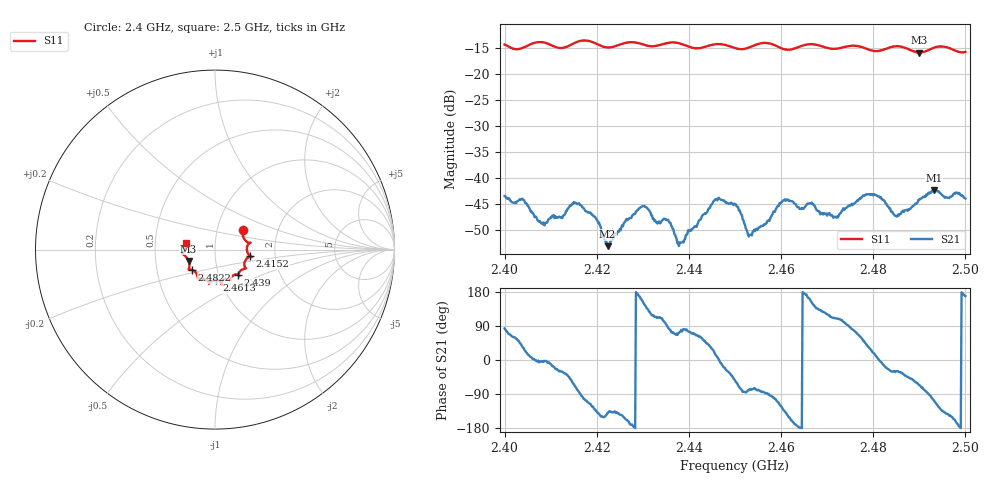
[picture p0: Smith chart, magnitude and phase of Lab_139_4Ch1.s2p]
# Hz S RI R 50
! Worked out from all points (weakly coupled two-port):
!   601 points, 2.4 GHz to 2.5 GHz, reference 50 ohm
!   highest |S21| = -42.23 dB at 2.4932 GHz (marker M1); lowest = -53.0 dB at 2.4223 GHz (marker M2)
!   lowest |S11| = -15.9 dB at 2.49 GHz (marker M3), VSWR 1.38, Z = 36.9 - j4.83 ohm
!   |S11| at or under -10 dB: start of sweep to end of sweep
!   S12 and S22 are empty: the file has one direction only
!   S11 on the Smith chart (normalised r, x): 2.4 GHz: 1.33, +0.31; 2.4152 GHz: 1.48, -0.11; 2.439 GHz: 1.24, -0.36; 2.4613 GHz: 0.96, -0.34; 2.4822 GHz: 0.76, -0.17; 2.5 GHz: 0.72, +0.05
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2.4e9  0.156 0.1113  0.000783 0.00671  0 0  0 0
2.403833e9  0.1701 0.0502  0.00519 0.0037  0 0  0 0
2.408333e9  0.1974 0.0392  0.00359 -0.000352  0 0  0 0
2.415167e9  0.1946 -0.036  0.00228 -0.00536  0 0  0 0
2.416667e9  0.2043 -0.0416  -0.000439 -0.00547  0 0  0 0
2.422333e9  0.1677 -0.0638  -0.00171 -0.00143  0 0  0 0
2.429833e9  0.1606 -0.1075  -0.00495 0.00205  0 0  0 0
2.433333e9  0.1331 -0.1324  -0.00138 0.00346  0 0  0 0
2.439e9  0.1281 -0.1394  0.000394 0.00255  0 0  0 0
2.445833e9  0.0845 -0.1734  0.00613 0.00138  0 0  0 0
2.45e9  0.0685 -0.1635  0.00334 -0.00458  0 0  0 0
2.453333e9  0.0369 -0.1776  0.000571 -0.00282  0 0  0 0
2.461333e9  0.0077 -0.1705  -0.00513 -0.0036  0 0  0 0
2.466667e9  -0.033 -0.19  -0.00512 0.00282  0 0  0 0
2.471833e9  -0.0633 -0.1623  -0.00146 0.00398  0 0  0 0
2.478333e9  -0.0979 -0.1458  0.00502 0.00487  0 0  0 0
2.482167e9  -0.1283 -0.1123  0.00606 -0.0013  0 0  0 0
2.483333e9  -0.1397 -0.1106  0.00481 -0.00221  0 0  0 0
2.485333e9  -0.1478 -0.1105  0.00391 -0.00218  0 0  0 0
2.49e9  -0.1473 -0.0638  0.00249 -0.00566  0 0  0 0
2.493167e9  -0.1764 -0.027  -0.00222 -0.00741  0 0  0 0
2.5e9  -0.159 0.034  -0.00626 0.00127  0 0  0 0
